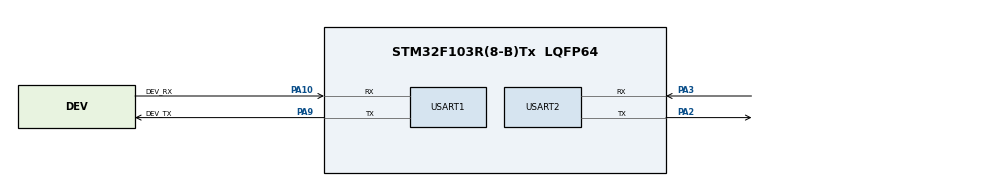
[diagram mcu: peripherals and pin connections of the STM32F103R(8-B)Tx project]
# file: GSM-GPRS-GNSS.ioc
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Mcu.Family=STM32F1
Mcu.Name=STM32F103R(8-B)Tx
Mcu.Package=LQFP64
NVIC.PriorityGroup=NVIC_PRIORITYGROUP_4
NVIC.USART1_IRQn=true\:0\:0\:false\:false\:true
NVIC.USART2_IRQn=true\:0\:0\:false\:false\:true
PA10.GPIO_Label=DEV_RX
PA10.Mode=Asynchronous
PA10.Signal=USART1_RX
PA13.Mode=Serial_Wire
PA13.Signal=SYS_JTMS-SWDIO
PA14.Mode=Serial_Wire
PA14.Signal=SYS_JTCK-SWCLK
PA2.Mode=Asynchronous
PA2.Signal=USART2_TX
PA3.Mode=Asynchronous
PA3.Signal=USART2_RX
PA9.GPIO_Label=DEV_TX
PA9.Mode=Asynchronous
PA9.Signal=USART1_TX
PD0-OSC_IN.Mode=HSE-External-Oscillator
PD0-OSC_IN.Signal=RCC_OSC_IN
PD1-OSC_OUT.Mode=HSE-External-Oscillator
PD1-OSC_OUT.Signal=RCC_OSC_OUT
ProjectManager.HeapSize=0x200
ProjectManager.StackSize=0x400
ProjectManager.TargetToolchain=MDK-ARM V5
RCC.APB1Freq_Value=8000000
RCC.APB2Freq_Value=8000000
board=GSM-GPRS-GNSS

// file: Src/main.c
/**
  ******************************************************************************
  * File Name          : main.c
  * Description        : Main program body
  ******************************************************************************
  *
  * COPYRIGHT(c) 2017 STMicroelectronics
  *
  * Redistribution and use in source and binary forms, with or without modification,
  * are permitted provided that the following conditions are met:
  *   1. Redistributions of source code must retain the above copyright notice,
  *      this list of conditions and the following disclaimer.
  *   2. Redistributions in binary form must reproduce the above copyright notice,
  *      this list of conditions and the following disclaimer in the documentation
  *      and/or other materials provided with the distribution.
  *   3. Neither the name of STMicroelectronics nor the names of its contributors
  *      may be used to endorse or promote products derived from this software
  *      without specific prior written permission.
  *
  * THIS SOFTWARE IS PROVIDED BY THE COPYRIGHT HOLDERS AND CONTRIBUTORS "AS IS"
  * AND ANY EXPRESS OR IMPLIED WARRANTIES, INCLUDING, BUT NOT LIMITED TO, THE
  * IMPLIED WARRANTIES OF MERCHANTABILITY AND FITNESS FOR A PARTICULAR PURPOSE ARE
  * DISCLAIMED. IN NO EVENT SHALL THE COPYRIGHT HOLDER OR CONTRIBUTORS BE LIABLE
  * FOR ANY DIRECT, INDIRECT, INCIDENTAL, SPECIAL, EXEMPLARY, OR CONSEQUENTIAL
  * DAMAGES (INCLUDING, BUT NOT LIMITED TO, PROCUREMENT OF SUBSTITUTE GOODS OR
  * SERVICES; LOSS OF USE, DATA, OR PROFITS; OR BUSINESS INTERRUPTION) HOWEVER
  * CAUSED AND ON ANY THEORY OF LIABILITY, WHETHER IN CONTRACT, STRICT LIABILITY,
  * OR TORT (INCLUDING NEGLIGENCE OR OTHERWISE) ARISING IN ANY WAY OUT OF THE USE
  * OF THIS SOFTWARE, EVEN IF ADVISED OF THE POSSIBILITY OF SUCH DAMAGE.
  *
  ******************************************************************************
  */
#include "main.h"
#include "stm32f1xx_hal.h"
#include "usart.h"
#include "gpio.h"
#include "stdio.h"
#include "string.h"

/* USER CODE BEGIN PV */
/* Private variables ---------------------------------------------------------*/

uint8_t RxBuff[255];
uint8_t Rxflag = 0,RxByte;
uint8_t RxCount = 0;

char *W_Buf[5] = {"AT\r\n", "AT+CMGF=1\r\n", "AT+CSCA=\"+8613800755500\"\r\n", "AT+CMGS=\"18825271704\"\r\n","helloworld"};
/* USER CODE END PV */

void SystemClock_Config(void);
void Error_Handler(void);

/* USER CODE BEGIN PFP */
/* Private function prototypes -----------------------------------------------*/

/* USER CODE END PFP */

int main(void)
{

  /* USER CODE BEGIN 1 */
//	uint8_t *R_Buf[2] = {"no"};
  /* USER CODE END 1 */

  /* MCU Configuration----------------------------------------------------------*/

  /* Reset of all peripherals, Initializes the Flash interface and the Systick. */
  HAL_Init();

  /* Configure the system clock */
  SystemClock_Config();

  /* Initialize all configured peripherals */
  MX_GPIO_Init();
  MX_USART1_UART_Init();
  MX_USART2_UART_Init();

  /* USER CODE BEGIN 2 */

	printf("this is a send message test\r\n");

	for(int i = 0;i <= 5 ;i++ )
	{
		printf("%s\r\n",W_Buf[i]);
		HAL_UART_Transmit_IT(&huart1, (uint8_t *)W_Buf[i], strlen(W_Buf[i]));	//uart1 to module
		HAL_Delay(50);

		if (i == 5){
			HAL_UART_Transmit_IT(&huart1, (uint8_t *)"\x1b\r\n", strlen("\x1a\r\n"));	// 0x1a : send   0x1b : Cancel send
			printf("the message is send!!");
		}
	}

	printf("%s\r\n",W_Buf[0]);
	HAL_UART_Transmit_IT(&huart1, (uint8_t *)W_Buf[1], strlen(W_Buf[1]));	//uart1 to module
	HAL_Delay(50);

  /* USER CODE END 2 */

  /* Infinite loop */
  while (1)
  {

  }

}

/** System Clock Configuration
*/
void SystemClock_Config(void)
{

  RCC_OscInitTypeDef RCC_OscInitStruct;
  RCC_ClkInitTypeDef RCC_ClkInitStruct;

    /**Initializes the CPU, AHB and APB busses clocks
    */
  RCC_OscInitStruct.OscillatorType = RCC_OSCILLATORTYPE_HSI;
  RCC_OscInitStruct.HSIState = RCC_HSI_ON;
  RCC_OscInitStruct.HSICalibrationValue = 16;
  RCC_OscInitStruct.PLL.PLLState = RCC_PLL_NONE;
  if (HAL_RCC_OscConfig(&RCC_OscInitStruct) != HAL_OK)
  {
    Error_Handler();
  }

    /**Initializes the CPU, AHB and APB busses clocks
    */
  RCC_ClkInitStruct.ClockType = RCC_CLOCKTYPE_HCLK|RCC_CLOCKTYPE_SYSCLK
                              |RCC_CLOCKTYPE_PCLK1|RCC_CLOCKTYPE_PCLK2;
  RCC_ClkInitStruct.SYSCLKSource = RCC_SYSCLKSOURCE_HSI;
  RCC_ClkInitStruct.AHBCLKDivider = RCC_SYSCLK_DIV1;
  RCC_ClkInitStruct.APB1CLKDivider = RCC_HCLK_DIV1;
  RCC_ClkInitStruct.APB2CLKDivider = RCC_HCLK_DIV1;

  if (HAL_RCC_ClockConfig(&RCC_ClkInitStruct, FLASH_LATENCY_0) != HAL_OK)
  {
    Error_Handler();
  }

    /**Configure the Systick interrupt time
    */
  HAL_SYSTICK_Config(HAL_RCC_GetHCLKFreq()/1000);

    /**Configure the Systick
    */
  HAL_SYSTICK_CLKSourceConfig(SYSTICK_CLKSOURCE_HCLK);

  /* SysTick_IRQn interrupt configuration */
  HAL_NVIC_SetPriority(SysTick_IRQn, 0, 0);
}

void Error_Handler(void)
{
  while(1)
  {
  }
}

/************************ (C) COPYRIGHT STMicroelectronics *****END OF FILE****/
